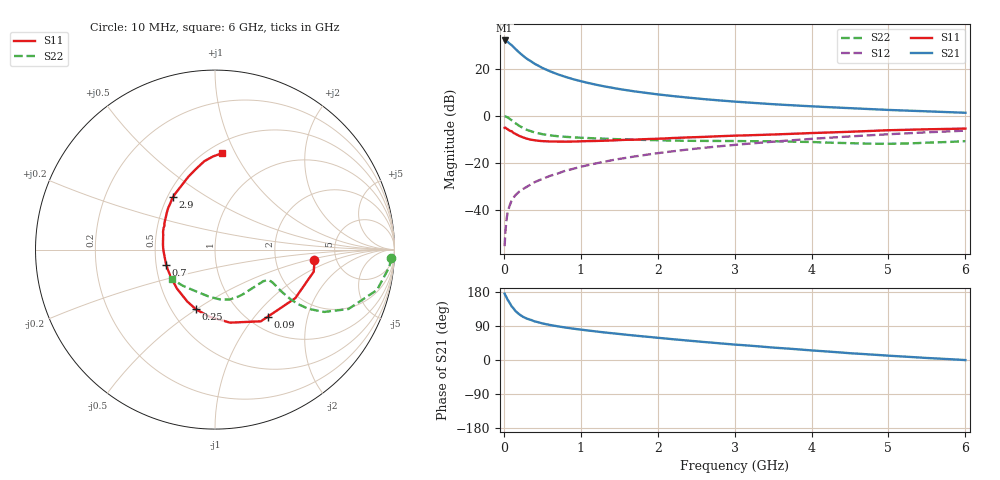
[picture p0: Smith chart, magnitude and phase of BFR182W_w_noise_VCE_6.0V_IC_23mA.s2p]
! Infineon Technologies  Discrete & RF Semiconductors
! BFR182W
! VCE =  6.0 V,  IC =  23 mA
! Common Emitter S-Parameters:  Jan 2017
# GHz  S  MA  R  50
!  f  S11  S21  S12  S22
! GHz  MAG  ANG  MAG  ANG  MAG  ANG  MAG  ANG
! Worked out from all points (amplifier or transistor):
!   77 points, 10 MHz to 6 GHz, reference 50 ohm
!   highest |S21| = 32.1 dB at 10 MHz (marker M1)
!   |S21| within 3 dB of that: start of sweep to 132.1 MHz
!   unconditionally stable (mu >= 1): 811.4 MHz to 2.299 GHz
!   at 130 MHz: K = 0.45, MSG = 31.9 dB, |S12| = -34.6 dB
!   at 2.2 GHz: K = 1.01, MAG = 11.2 dB, |S12| = -15.0 dB
!   at 6 GHz: K = 0.86, MSG = 3.8 dB, |S12| = -6.3 dB
!   lowest NFmin = 1.50 dB at 450 MHz
!   S11 on the Smith chart (normalised r, x): 10 MHz: 3.41, -0.60; 90 MHz: 1.21, -1.17; 250 MHz: 0.66, -0.50; 700 MHz: 0.57, -0.10; 2.9 GHz: 0.54, +0.36; 6 GHz: 0.58, +0.88
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0.01  0.5576 -6.2  40.15 175.0  0.0017 91.7  0.9837 -2.6
0.02  0.5638 -12.6  40.1 171.0  0.0034 97.1  0.9757 -5.8
0.05  0.5229 -31.1  37.59 158.7  0.009 78.0  0.9303 -14.0
0.09  0.4755 -51.8  32.91 145.6  0.0143 72.8  0.8348 -21.8
0.1  0.4743 -57.4  32.05 141.8  0.0156 72.1  0.8137 -24.0
0.15  0.4155 -78.4  26.64 129.5  0.0206 66.5  0.7012 -29.7
0.2  0.3753 -94.6  22.25 120.6  0.0245 65.6  0.6155 -32.4
0.25  0.3491 -107.7  18.97 113.9  0.0279 65.1  0.5524 -33.3
0.3  0.3277 -118.2  16.35 109.1  0.0312 66.0  0.5045 -33.3
0.4  0.3036 -134.2  12.83 101.9  0.0389 67.9  0.4446 -32.4
0.5  0.2909 -146.1  10.48 96.6  0.0457 68.4  0.4092 -31.3
0.6  0.286 -155.7  8.87 92.4  0.0531 69.2  0.3863 -30.4
0.7  0.2846 -163.0  7.665 88.9  0.0595 70.9  0.37 -29.8
0.9  0.2848 -174.9  6.033 82.8  0.0749 71.4  0.3504 -29.7
1.1  0.2909 175.1  4.998 77.7  0.0903 71.4  0.3377 -30.4
1.5  0.3061 161.0  3.728 68.7  0.1217 70.4  0.319 -34.2
2.1  0.3322 144.9  2.749 56.8  0.169 67.1  0.3012 -44.3
2.9  0.3746 128.5  2.073 42.4  0.2336 61.5  0.2924 -61.5
3.1  0.3838 124.7  1.962 39.3  0.2498 59.9  0.2909 -65.7
4.1  0.4369 108.8  1.569 23.9  0.3331 51.3  0.2747 -87.0
5.1  0.5 95.8  1.32 10.2  0.4152 41.7  0.2566 -118.1
6  0.5376 86.1  1.165 -0.2  0.4853 32.6  0.2904 -145.6
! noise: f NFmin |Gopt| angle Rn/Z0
0.45  1.5  0.14  -170  0.15
0.9  1.58  0.16  -165  0.16
1.9  2.1  0.31  -139  0.17
2.4  2.38  0.32  -127  0.27
